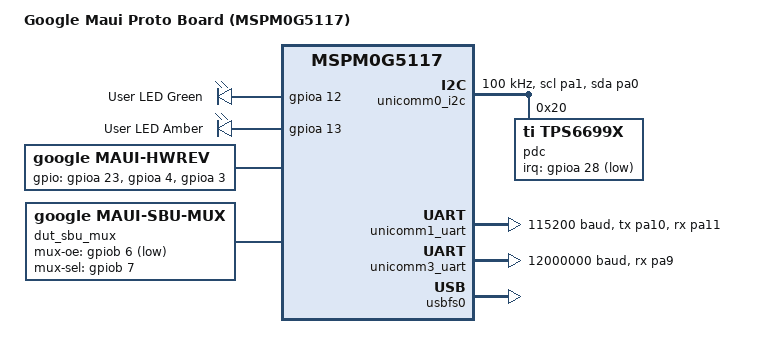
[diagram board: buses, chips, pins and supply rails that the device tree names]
/* Copyright 2026 The ChromiumOS Authors
 * Use of this source code is governed by a BSD-style license that can be
 * found in the LICENSE file.
 */

/dts-v1/;

#include <ti/mspm0/g/mspm0g5117.dtsi>
#include <ti/mspm0/g/mspm0g51xx-pinctrl.dtsi>

#include <zephyr/dt-bindings/clock/mspm0_clock.h>
#include <zephyr/dt-bindings/gpio/gpio.h>
#include <zephyr/dt-bindings/input/input-event-codes.h>

#include "adc.dtsi"
#include "../common/gpio.dtsi"

/ {
	model = "Google Maui Proto Board (MSPM0G5117)";
	compatible = "google,maui-proto-5117", "ti,mspm0g5117";

	aliases {
		/* Resolves the 'zephyr_udc0' macro compile error */
		zephyr-udc0 = &usbfs0;
		pdc-debug-uart = &unicomm3_uart;
	};

	chosen {
		zephyr,sram = &sram0;
		zephyr,flash = &flash0;
		/* Route console and shell over physical UART first */
		zephyr,console = &unicomm1_uart;
		zephyr,shell-uart = &unicomm1_uart;
	};

	leds: leds {
		compatible = "gpio-leds";

		ec_led_green: ec_led_green {
			gpios = <&gpioa 12 GPIO_ACTIVE_HIGH>;
			label = "User LED Green";
		};

		ec_led_amber: ec_led_amber {
			gpios = <&gpioa 13 GPIO_ACTIVE_HIGH>;
			label = "User LED Amber";
		};
	};

	hwrev {
		compatible = "google,maui-hwrev";
		gpios = <&gpioa 23 GPIO_ACTIVE_HIGH>,
				<&gpioa 4 GPIO_ACTIVE_HIGH>,
				<&gpioa 3 GPIO_ACTIVE_HIGH>;
	};

	dut_sbu_mux: dut-sbu-mux {
		compatible = "google,maui-sbu-mux";
		status = "okay";

		pdc = <&pdc>;
		mux-oe-gpios = <&gpiob 6 GPIO_ACTIVE_LOW>;
		mux-sel-gpios = <&gpiob 7 GPIO_ACTIVE_HIGH>;
	};
};

&cpu0 {
	clock-frequency = <DT_FREQ_M(32)>;
};

&ulpclk {
	clock-frequency = <DT_FREQ_M(32)>;
	clk-div = <1>;
};

&mclk {
	clock-frequency = <DT_FREQ_M(32)>;
};

&flash0 {
	status = "okay";
};

&pinctrl {
	status = "okay";
};

&gpioa {
	status = "okay";
};

&gpiob {
	status = "okay";
};

&unicomm0 {
	unicomm0_i2c: unicomm0_i2c@40a80000 {
		compatible = "ti,mspm0-i2c";
		interrupts = <9 0>;
		reg = <0x40a80000 0x00002000>;
		clocks = <&ckm MSPM0_CLOCK_ULPCLK>;
		status = "okay";
		clock-frequency = <100000>;
		pinctrl-0 = <&uc0_scl_pa1 &uc0_sda_pa0>;
		pinctrl-names = "default";
		#address-cells = <1>;
		#size-cells = <0>;

		pdc: tps6699x@20 {
			compatible = "ti,tps6699x";
			reg = <0x20>;
			irq-gpios = <&gpioa 28 (GPIO_PULL_UP | GPIO_ACTIVE_LOW)>;
		};
	};
};

&unicomm1_uart {
	status = "okay";
	current-speed = <115200>;
	pinctrl-0 = <&uc1_tx_pa10 &uc1_rx_pa11>;
	pinctrl-names = "default";
};

&unicomm3_uart {
	status = "okay";
	current-speed = <12000000>;
	pinctrl-0 = <&uc3_rx_pa9>;
	pinctrl-names = "default";
};

&vref0 {
	status = "disabled";
};

zephyr_udc0: &usbfs0 {
	status = "okay";
	maximum-speed = "full-speed";

	cdc_acm_uart0: cdc_acm_uart0 {
		compatible = "zephyr,cdc-acm-uart";
	};
};
